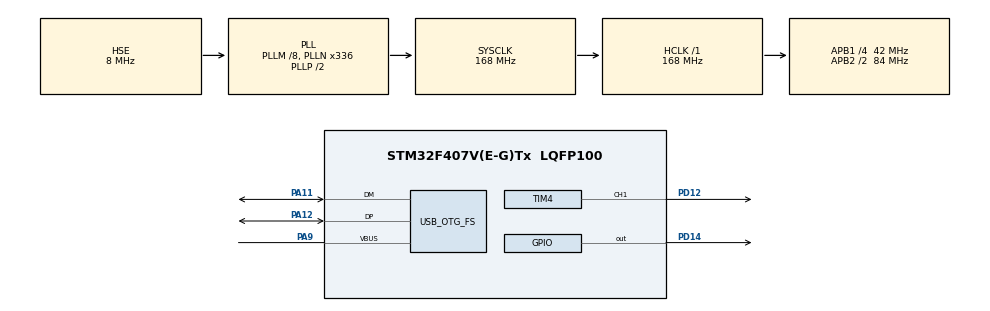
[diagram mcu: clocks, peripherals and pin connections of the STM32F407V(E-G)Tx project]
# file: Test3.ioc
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Dma.Request0=TIM4_CH1
Dma.TIM4_CH1.0.Direction=DMA_MEMORY_TO_PERIPH
Dma.TIM4_CH1.0.FIFOMode=DMA_FIFOMODE_DISABLE
Dma.TIM4_CH1.0.Instance=DMA1_Stream0
Dma.TIM4_CH1.0.MemDataAlignment=DMA_MDATAALIGN_HALFWORD
Dma.TIM4_CH1.0.MemInc=DMA_MINC_ENABLE
Dma.TIM4_CH1.0.Mode=DMA_CIRCULAR
Dma.TIM4_CH1.0.PeriphDataAlignment=DMA_PDATAALIGN_HALFWORD
Dma.TIM4_CH1.0.PeriphInc=DMA_PINC_DISABLE
Dma.TIM4_CH1.0.Priority=DMA_PRIORITY_HIGH
Mcu.Family=STM32F4
Mcu.Name=STM32F407V(E-G)Tx
Mcu.Package=LQFP100
NVIC.DMA1_Stream0_IRQn=true\:0\:0\:false\:false\:true\:false
NVIC.OTG_FS_IRQn=true\:0\:0\:false\:false\:true\:false
NVIC.PriorityGroup=NVIC_PRIORITYGROUP_4
PA11.Mode=Device_Only
PA11.Signal=USB_OTG_FS_DM
PA12.Mode=Device_Only
PA12.Signal=USB_OTG_FS_DP
PA9.Mode=Activate_VBUS
PA9.Signal=USB_OTG_FS_VBUS
PD12.GPIO_Speed=GPIO_SPEED_FREQ_HIGH
PD12.Signal=S_TIM4_CH1
PD14.GPIO_Speed=GPIO_SPEED_FREQ_HIGH
PD14.PinState=GPIO_PIN_SET
PD14.Signal=GPIO_Output
PH0-OSC_IN.Mode=HSE-External-Oscillator
PH0-OSC_IN.Signal=RCC_OSC_IN
PH1-OSC_OUT.Mode=HSE-External-Oscillator
PH1-OSC_OUT.Signal=RCC_OSC_OUT
ProjectManager.HeapSize=0x200
ProjectManager.StackSize=0x400
ProjectManager.TargetToolchain=SW4STM32
RCC.48MHZClocksFreq_Value=48000000
RCC.AHBFreq_Value=168000000
RCC.APB1CLKDivider=RCC_HCLK_DIV4
RCC.APB1Freq_Value=42000000
RCC.APB1TimFreq_Value=84000000
RCC.APB2CLKDivider=RCC_HCLK_DIV2
RCC.APB2Freq_Value=84000000
RCC.APB2TimFreq_Value=168000000
RCC.CortexFreq_Value=168000000
RCC.HCLKFreq_Value=168000000
RCC.HSE_VALUE=8000000
RCC.HSI_VALUE=16000000
RCC.LSE_VALUE=32768
RCC.PLLM=8
RCC.PLLN=336
RCC.PLLQ=7
RCC.SYSCLKFreq_VALUE=168000000
RCC.SYSCLKSource=RCC_SYSCLKSOURCE_PLLCLK
RCC.VCOOutputFreq_Value=336000000
SH.S_TIM4_CH1.0=TIM4_CH1,PWM Generation1 CH1
TIM4.Channel-PWM\ Generation1\ CH1=TIM_CHANNEL_1
TIM4.Period=2100
TIM4.Prescaler=1
TIM4.Pulse-PWM\ Generation1\ CH1=2100
USB_DEVICE.CLASS_NAME_FS=CDC
USB_DEVICE.VirtualMode-CDC_FS=Cdc
USB_DEVICE.VirtualModeFS=Cdc_FS
USB_OTG_FS.VirtualMode=Device_Only
VP_USB_DEVICE_VS_USB_DEVICE_CDC_FS.Mode=CDC_FS
board=custom

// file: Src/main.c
/**
  ******************************************************************************
  * @file           : main.c
  * @brief          : Main program body
  ******************************************************************************
  * This notice applies to any and all portions of this file
  * that are not between comment pairs USER CODE BEGIN and
  * USER CODE END. Other portions of this file, whether
  * inserted by the user or by software development tools
  * are owned by their respective copyright owners.
  *
  * Copyright (c) 2018 STMicroelectronics International N.V.
  * All rights reserved.
  *
  * Redistribution and use in source and binary forms, with or without
  * modification, are permitted, provided that the following conditions are met:
  *
  * 1. Redistribution of source code must retain the above copyright notice,
  *    this list of conditions and the following disclaimer.
  * 2. Redistributions in binary form must reproduce the above copyright notice,
  *    this list of conditions and the following disclaimer in the documentation
  *    and/or other materials provided with the distribution.
  * 3. Neither the name of STMicroelectronics nor the names of other
  *    contributors to this software may be used to endorse or promote products
  *    derived from this software without specific written permission.
  * 4. This software, including modifications and/or derivative works of this
  *    software, must execute solely and exclusively on microcontroller or
  *    microprocessor devices manufactured by or for STMicroelectronics.
  * 5. Redistribution and use of this software other than as permitted under
  *    this license is void and will automatically terminate your rights under
  *    this license.
  *
  * THIS SOFTWARE IS PROVIDED BY STMICROELECTRONICS AND CONTRIBUTORS "AS IS"
  * AND ANY EXPRESS, IMPLIED OR STATUTORY WARRANTIES, INCLUDING, BUT NOT
  * LIMITED TO, THE IMPLIED WARRANTIES OF MERCHANTABILITY, FITNESS FOR A
  * PARTICULAR PURPOSE AND NON-INFRINGEMENT OF THIRD PARTY INTELLECTUAL PROPERTY
  * RIGHTS ARE DISCLAIMED TO THE FULLEST EXTENT PERMITTED BY LAW. IN NO EVENT
  * SHALL STMICROELECTRONICS OR CONTRIBUTORS BE LIABLE FOR ANY DIRECT, INDIRECT,
  * INCIDENTAL, SPECIAL, EXEMPLARY, OR CONSEQUENTIAL DAMAGES (INCLUDING, BUT NOT
  * LIMITED TO, PROCUREMENT OF SUBSTITUTE GOODS OR SERVICES; LOSS OF USE, DATA,
  * OR PROFITS; OR BUSINESS INTERRUPTION) HOWEVER CAUSED AND ON ANY THEORY OF
  * LIABILITY, WHETHER IN CONTRACT, STRICT LIABILITY, OR TORT (INCLUDING
  * NEGLIGENCE OR OTHERWISE) ARISING IN ANY WAY OUT OF THE USE OF THIS SOFTWARE,
  * EVEN IF ADVISED OF THE POSSIBILITY OF SUCH DAMAGE.
  *
  ******************************************************************************
  */
#include "main.h"
#include "stm32f4xx_hal.h"
#include "dma.h"
#include "tim.h"
#include "usb_device.h"
#include "gpio.h"
#include"usbd_cdc_if.h"
#include"ctype.h"

extern uint8_t UserRxBufferFS[2048];
#define SIZE  1788						//number of bytes transferred
#define steps  400						//number of PWM-pulses per period
const int precision = 2100;				//number of cycles in 1 pulse
char str_rx[SIZE];						//array for transferred bytes
uint16_t data_arr[steps];				//array for PWM shape-values
//uint16_t shape_arr[steps];
int index_count;
/* USER CODE BEGIN PV */
/* Private variables ---------------------------------------------------------*/

/* USER CODE END PV */

void SystemClock_Config(void);

/* USER CODE BEGIN PFP */
/* Private function prototypes -----------------------------------------------*/
void pack_val();				//function for converting char values to uint16_t

/* USER CODE END PFP */

int main(void)
{
  /* USER CODE BEGIN 1 */

	for(uint16_t i = 0; i < SIZE; i++)
			str_rx[i] = 0;
  /* USER CODE END 1 */

  /* MCU Configuration----------------------------------------------------------*/

  /* Reset of all peripherals, Initializes the Flash interface and the Systick. */
  HAL_Init();

  /* Configure the system clock */
  SystemClock_Config();

  /* Initialize all configured peripherals */
  MX_GPIO_Init();
  MX_DMA_Init();
  MX_TIM4_Init();
  MX_USB_DEVICE_Init();
  /* USER CODE BEGIN 2 */
  uint8_t flag = 1;
  index_count = 0;
  HAL_TIM_PWM_Start_DMA(&htim4,TIM_CHANNEL_1, (uint32_t *)data_arr,steps);
  /* USER CODE END 2 */

  /* Infinite loop */
  /* USER CODE BEGIN WHILE */
  while (1)
  {
	  if(flag)
	  	 	  {
	  	 	  if(UserRxBufferFS[0] != 0)
	  	 	  	  {
	  	 		  str_rx[index_count++] = UserRxBufferFS[0];
	  	 		  if(UserRxBufferFS[0] == 'L')			//end of file
	  	 		  {
	  	 			  flag = 0;
	  	 			HAL_GPIO_WritePin(GPIOD, GPIO_PIN_14, GPIO_PIN_RESET);
	  	 		  }
	  	 		  else
	  	 		  UserRxBufferFS[0] = 0;
	  	 	  	  }
	  	 	  if(str_rx[SIZE - 1] != 0)
	  	 	  	  pack_val();
	  	 	  }
  /* USER CODE END WHILE */

  }

}

void SystemClock_Config(void)
{

  RCC_OscInitTypeDef RCC_OscInitStruct;
  RCC_ClkInitTypeDef RCC_ClkInitStruct;

    /**Configure the main internal regulator output voltage
    */
  __HAL_RCC_PWR_CLK_ENABLE();

  __HAL_PWR_VOLTAGESCALING_CONFIG(PWR_REGULATOR_VOLTAGE_SCALE1);

    /**Initializes the CPU, AHB and APB busses clocks
    */
  RCC_OscInitStruct.OscillatorType = RCC_OSCILLATORTYPE_HSE;
  RCC_OscInitStruct.HSEState = RCC_HSE_ON;
  RCC_OscInitStruct.PLL.PLLState = RCC_PLL_ON;
  RCC_OscInitStruct.PLL.PLLSource = RCC_PLLSOURCE_HSE;
  RCC_OscInitStruct.PLL.PLLM = 8;
  RCC_OscInitStruct.PLL.PLLN = 336;
  RCC_OscInitStruct.PLL.PLLP = RCC_PLLP_DIV2;
  RCC_OscInitStruct.PLL.PLLQ = 7;
  if (HAL_RCC_OscConfig(&RCC_OscInitStruct) != HAL_OK)
  {
    _Error_Handler(__FILE__, __LINE__);
  }

    /**Initializes the CPU, AHB and APB busses clocks
    */
  RCC_ClkInitStruct.ClockType = RCC_CLOCKTYPE_HCLK|RCC_CLOCKTYPE_SYSCLK
                              |RCC_CLOCKTYPE_PCLK1|RCC_CLOCKTYPE_PCLK2;
  RCC_ClkInitStruct.SYSCLKSource = RCC_SYSCLKSOURCE_PLLCLK;
  RCC_ClkInitStruct.AHBCLKDivider = RCC_SYSCLK_DIV1;
  RCC_ClkInitStruct.APB1CLKDivider = RCC_HCLK_DIV4;
  RCC_ClkInitStruct.APB2CLKDivider = RCC_HCLK_DIV2;

  if (HAL_RCC_ClockConfig(&RCC_ClkInitStruct, FLASH_LATENCY_5) != HAL_OK)
  {
    _Error_Handler(__FILE__, __LINE__);
  }

    /**Configure the Systick interrupt time
    */
  HAL_SYSTICK_Config(HAL_RCC_GetHCLKFreq()/1000);

    /**Configure the Systick
    */
  HAL_SYSTICK_CLKSourceConfig(SYSTICK_CLKSOURCE_HCLK);

  /* SysTick_IRQn interrupt configuration */
  HAL_NVIC_SetPriority(SysTick_IRQn, 0, 0);
}

/* USER CODE BEGIN 4 */
void pack_val()
{
	uint16_t count = 0;
	int ind = 0;
	uint16_t cur_val = 0;
	for(count = 0; count < SIZE && ind < steps; count++)
	{
		if(str_rx[count] == 'L')     //end of file
			break;
		else if(str_rx[count] == ' ')
		{
			data_arr[ind++] = cur_val;
			cur_val = 0;
		}
		else
		{
			if(isdigit(str_rx[count]))
					cur_val = 10 * cur_val + ((uint8_t)str_rx[count] - (uint16_t)'0');
			else
				 HAL_GPIO_WritePin(GPIOD, GPIO_PIN_14, GPIO_PIN_SET);
		}
	}
}

/* USER CODE END 4 */

void _Error_Handler(char *file, int line)
{
  while(1)
  {
  }
}

/************************ (C) COPYRIGHT STMicroelectronics *****END OF FILE****/
